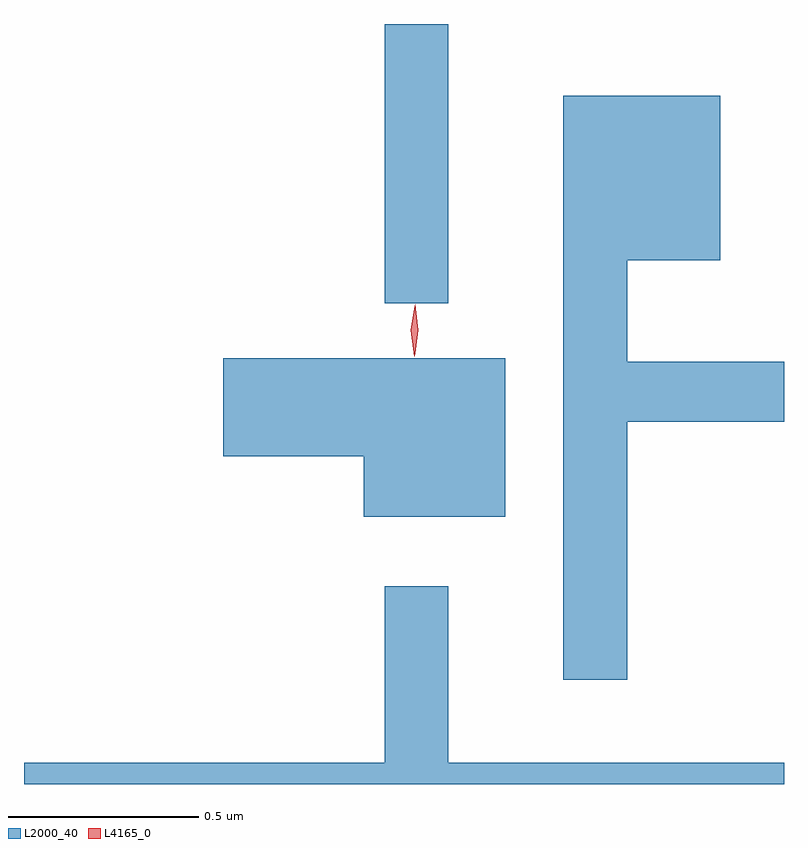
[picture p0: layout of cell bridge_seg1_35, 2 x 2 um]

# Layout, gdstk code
import gdstk
lib = gdstk.Library(unit=1e-6, precision=1e-09)
def R(c, l, rs):  # rectangles x0, y0, x1, y1
    for r in rs: c.add(gdstk.rectangle(r[:2], r[2:], *l))
def P(c, l, *ps):  # polygons
    for p in ps: c.add(gdstk.Polygon(p, *l))
L2000_40 = (2000, 40)
L4165_0 = (4165, 0)

bridge_seg1_35 = lib.new_cell('bridge_seg1_35')
R(bridge_seg1_35, L2000_40, [(1628.011,843.333,1628.179,844.068)])
P(bridge_seg1_35, L2000_40, [(1628.649,843.021),(1629.062,843.021),(1629.062,843.179),(1628.649,843.179),(1628.649,843.446),(1628.894,843.446),(1628.894,843.879),(1628.481,843.879),(1628.481,842.343),(1628.649,842.343)],
  [(1628.329,843.189),(1627.586,843.189),(1627.586,842.931),(1627.956,842.931),(1627.956,842.771),(1628.329,842.771)],
  [(1629.062,842.124),(1628.179,842.124),(1628.179,842.588),(1628.011,842.588),(1628.011,842.124),(1627.062,842.124),(1627.062,842.068),(1629.062,842.068)])
P(bridge_seg1_35, L4165_0, [(1628.09,843.2),(1628.09,843.2),(1628.08,843.263),(1628.09,843.327),(1628.09,843.327),(1628.091,843.327),(1628.1,843.263),(1628.091,843.2)],
  [(1628.089,843.194),(1628.089,843.194),(1628.08,843.262),(1628.091,843.33),(1628.091,843.33),(1628.092,843.33),(1628.1,843.262),(1628.09,843.194)])

lib.write_gds('bridge_seg1_35.gds')
